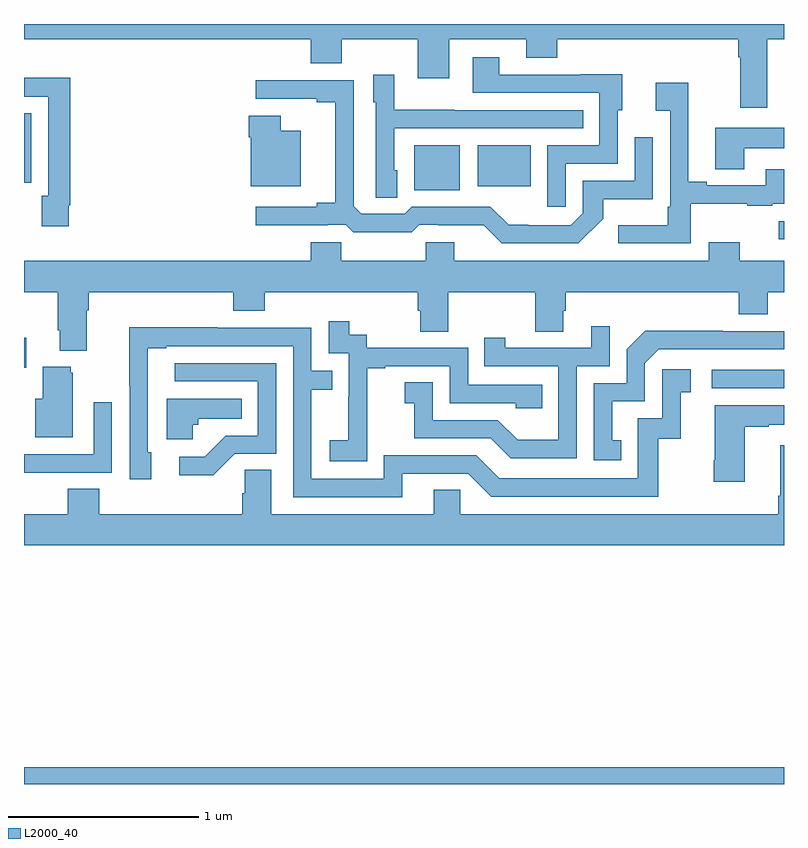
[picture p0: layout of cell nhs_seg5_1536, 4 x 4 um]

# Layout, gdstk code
import gdstk
lib = gdstk.Library(unit=1e-6, precision=1e-09)
def R(c, l, rs):  # rectangles x0, y0, x1, y1
    for r in rs: c.add(gdstk.rectangle(r[:2], r[2:], *l))
def P(c, l, *ps):  # polygons
    for p in ps: c.add(gdstk.Polygon(p, *l))
L2000_40 = (2000, 40)

nhs_seg5_1536 = lib.new_cell('nhs_seg5_1536')
R(nhs_seg5_1536, L2000_40, [(203,892.799,207,892.888), (206.619,894.882,207,894.978), (203,894.991,203.011,895.147), (206.973,895.667,207,895.761), (205.055,895.925,205.294,896.161), (205.388,895.946,205.666,896.161), (203,895.964,203.038,896.33)])
P(nhs_seg5_1536, L2000_40, [(206.911,896.72),(207,896.72),(207,896.799),(203,896.799),(203,896.72),(204.509,896.72),(204.509,896.592),(204.673,896.592),(204.673,896.72),(205.073,896.72),(205.073,896.514),(205.237,896.514),(205.237,896.72),(205.643,896.72),(205.643,896.621),(205.807,896.621),(205.807,896.72),(206.759,896.72),(206.759,896.624),(206.771,896.624),(206.771,896.358),(206.911,896.358)],
  [(205.851,896.064),(206.124,896.064),(206.124,896.346),(206.149,896.346),(206.149,896.534),(205.931,896.534),(205.931,896.532),(205.501,896.532),(205.501,896.623),(205.361,896.623),(205.361,896.436),(206.028,896.436),(206.028,896.16),(205.755,896.16),(205.755,895.836),(205.851,895.836)],
  [(204.964,896.028),(204.948,896.028),(204.948,896.25),(205.943,896.25),(205.943,896.346),(205.265,896.346),(205.265,896.347),(204.948,896.347),(204.948,896.533),(204.839,896.533),(204.839,896.388),(204.852,896.388),(204.852,895.885),(204.964,895.885)],
  [(203.236,895.846),(203.243,895.846),(203.243,896.515),(203,896.515),(203,896.415),(203.127,896.415),(203.127,895.895),(203.093,895.895),(203.093,895.734),(203.236,895.734)],
  [(206.049,895.775),(206.049,895.877),(206.31,895.877),(206.31,896.203),(206.214,896.203),(206.214,895.974),(205.941,895.974),(205.941,895.803),(205.878,895.74),(205.654,895.74),(205.654,895.742),(205.55,895.742),(205.455,895.836),(205.041,895.836),(205.005,895.8),(204.774,895.8),(204.735,895.839),(204.735,896.502),(204.219,896.502),(204.219,896.406),(204.542,896.406),(204.542,896.386),(204.638,896.386),(204.638,895.859),(204.542,895.859),(204.542,895.836),(204.219,895.836),(204.219,895.739),(204.599,895.739),(204.599,895.743),(204.693,895.743),(204.733,895.704),(205.041,895.704),(205.08,895.743),(205.18,895.743),(205.18,895.739),(205.421,895.739),(205.515,895.644),(205.918,895.644)],
  [(206.509,895.853),(206.807,895.853),(206.807,895.842),(206.939,895.842),(206.939,895.854),(207,895.854),(207,896.035),(206.903,896.035),(206.903,895.95),(206.593,895.95),(206.593,895.969),(206.497,895.969),(206.497,896.491),(206.325,896.491),(206.325,896.342),(206.4,896.342),(206.4,895.837),(206.388,895.837),(206.388,895.741),(206.127,895.741),(206.127,895.644),(206.509,895.644)],
  [(204.457,896.236),(204.352,896.236),(204.352,896.317),(204.182,896.317),(204.182,896.204),(204.194,896.204),(204.194,895.946),(204.457,895.946)],
  [(206.791,896.144),(207,896.144),(207,896.254),(206.639,896.254),(206.639,896.035),(206.791,896.035)],
  [(203.329,895.292),(203.342,895.292),(203.342,895.388),(204.101,895.388),(204.101,895.289),(204.266,895.289),(204.266,895.388),(205.073,895.388),(205.073,895.29),(205.085,895.29),(205.085,895.18),(205.233,895.18),(205.233,895.388),(205.69,895.388),(205.69,895.18),(205.837,895.18),(205.837,895.29),(205.85,895.29),(205.85,895.388),(206.762,895.388),(206.762,895.271),(206.914,895.271),(206.914,895.388),(207,895.388),(207,895.552),(206.767,895.552),(206.767,895.651),(206.603,895.651),(206.603,895.552),(205.264,895.552),(205.264,895.65),(205.114,895.65),(205.114,895.552),(204.669,895.552),(204.669,895.65),(204.509,895.65),(204.509,895.552),(203,895.552),(203,895.388),(203.177,895.388),(203.177,895.186),(203.189,895.186),(203.189,895.079),(203.329,895.079)],
  [(204.807,894.703),(204.806,894.703),(204.806,894.987),(204.901,894.987),(204.901,894.999),(205.242,894.999),(205.242,894.804),(205.587,894.804),(205.587,894.777),(205.727,894.777),(205.727,894.9),(205.338,894.9),(205.338,895.095),(204.804,895.095),(204.804,895.164),(204.712,895.164),(204.712,895.234),(204.603,895.234),(204.603,895.065),(204.708,895.065),(204.708,894.836),(204.707,894.836),(204.707,894.607),(204.609,894.607),(204.609,894.497),(204.807,894.497)],
  [(205.908,894.999),(206.082,894.999),(206.082,895.207),(205.985,895.207),(205.985,895.095),(205.534,895.095),(205.534,895.147),(205.423,895.147),(205.423,894.999),(205.812,894.999),(205.812,894.61),(205.598,894.61),(205.494,894.714),(205.152,894.714),(205.152,894.913),(205.005,894.913),(205.005,894.803),(205.054,894.803),(205.054,894.618),(205.457,894.618),(205.562,894.513),(205.908,894.513)],
  [(204.991,894.432),(205.338,894.432),(205.458,894.312),(206.338,894.312),(206.338,894.615),(206.456,894.615),(206.456,894.861),(206.509,894.861),(206.509,894.982),(206.358,894.982),(206.358,894.723),(206.229,894.723),(206.229,894.408),(205.5,894.408),(205.38,894.528),(204.894,894.528),(204.894,894.405),(204.513,894.405),(204.513,894.874),(204.623,894.874),(204.623,894.975),(204.513,894.975),(204.513,895.2),(204.017,895.2),(204.017,895.202),(203.554,895.202),(203.554,894.895),(203.556,894.895),(203.556,894.402),(203.671,894.402),(203.671,894.546),(203.652,894.546),(203.652,895.092),(203.749,895.092),(203.749,895.104),(204.417,895.104),(204.417,894.309),(204.991,894.309)],
  [(206.144,894.609),(206.095,894.609),(206.095,894.813),(206.268,894.813),(206.268,895.014),(206.34,895.086),(207,895.086),(207,895.182),(206.678,895.182),(206.678,895.184),(206.27,895.184),(206.172,895.086),(206.172,894.909),(205.998,894.909),(205.998,894.504),(206.144,894.504)],
  [(204.108,894.537),(204.327,894.537),(204.327,895.014),(203.793,895.014),(203.793,894.918),(204.231,894.918),(204.231,894.633),(204.062,894.633),(203.951,894.522),(203.817,894.522),(203.817,894.425),(203.995,894.425)],
  [(203.257,894.963),(203.246,894.963),(203.246,894.994),(203.099,894.994),(203.099,894.826),(203.06,894.826),(203.06,894.623),(203.257,894.623)],
  [(203.889,894.69),(203.916,894.69),(203.916,894.722),(204.146,894.722),(204.146,894.826),(203.75,894.826),(203.75,894.614),(203.889,894.614)],
  [(203.147,894.438),(203.463,894.438),(203.463,894.808),(203.367,894.808),(203.367,894.534),(203,894.534),(203,894.437),(203.147,894.437)],
  [(206.794,894.679),(206.921,894.679),(206.921,894.689),(207,894.689),(207,894.793),(206.636,894.793),(206.636,894.502),(206.629,894.502),(206.629,894.39),(206.794,894.39)],
  [(207,894.583),(206.981,894.583),(206.981,894.316),(206.969,894.316),(206.969,894.22),(205.296,894.22),(205.296,894.347),(205.157,894.347),(205.157,894.22),(204.301,894.22),(204.301,894.452),(204.162,894.452),(204.162,894.329),(204.149,894.329),(204.149,894.22),(203.396,894.22),(203.396,894.353),(203.231,894.353),(203.231,894.22),(203,894.22),(203,894.056),(207,894.056)])

lib.write_gds('nhs_seg5_1536.gds')
